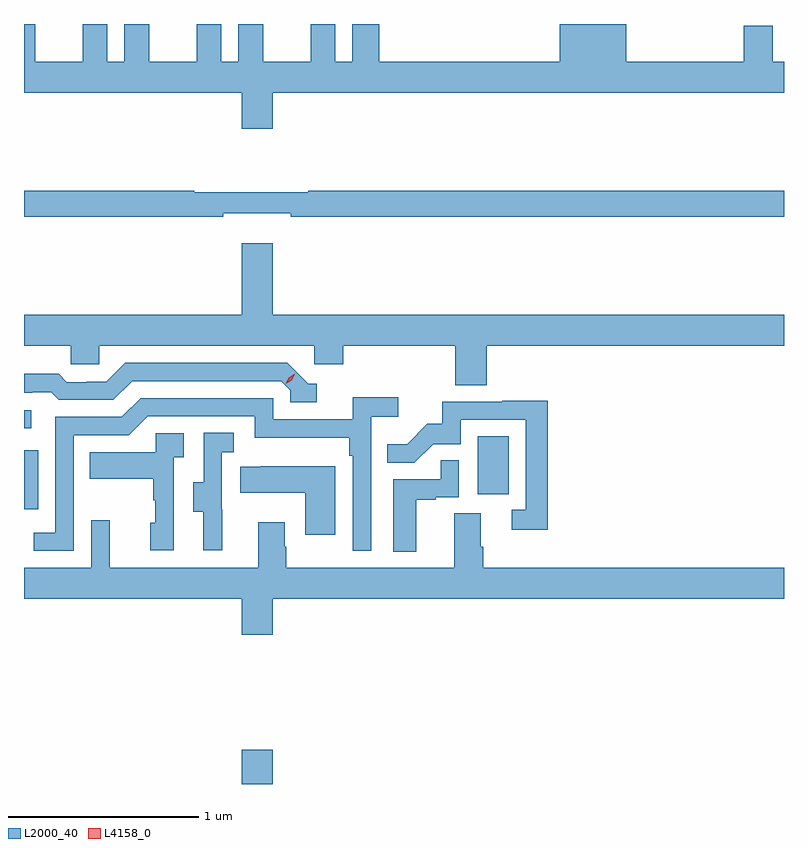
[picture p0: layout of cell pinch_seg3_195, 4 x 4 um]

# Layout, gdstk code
import gdstk
lib = gdstk.Library(unit=1e-6, precision=1e-09)
def R(c, l, rs):  # rectangles x0, y0, x1, y1
    for r in rs: c.add(gdstk.rectangle(r[:2], r[2:], *l))
def P(c, l, *ps):  # polygons
    for p in ps: c.add(gdstk.Polygon(p, *l))
L2000_40 = (2000, 40)
L4158_0 = (4158, 0)

pinch_seg3_195 = lib.new_cell('pinch_seg3_195')
R(pinch_seg3_195, L2000_40, [(956.216,741.234,956.38,741.415), (955.071,742.68,955.146,742.99), (957.458,742.758,957.622,743.065), (955.071,743.106,955.108,743.202)])
P(pinch_seg3_195, L2000_40, [(956.216,744.684),(956.38,744.684),(956.38,744.872),(959.071,744.872),(959.071,745.036),(959.011,745.036),(959.011,745.226),(958.859,745.226),(958.859,745.036),(958.24,745.036),(958.24,745.234),(957.89,745.234),(957.89,745.036),(956.942,745.036),(956.942,745.234),(956.798,745.234),(956.798,745.036),(956.71,745.036),(956.71,745.234),(956.579,745.234),(956.579,745.036),(956.329,745.036),(956.329,745.234),(956.198,745.234),(956.198,745.036),(956.11,745.036),(956.11,745.234),(955.979,745.234),(955.979,745.036),(955.729,745.036),(955.729,745.234),(955.598,745.234),(955.598,745.036),(955.51,745.036),(955.51,745.234),(955.379,745.234),(955.379,745.036),(955.129,745.036),(955.129,745.234),(955.071,745.234),(955.071,744.872),(956.216,744.872)],
  [(956.12,744.239),(956.476,744.239),(956.476,744.22),(959.071,744.22),(959.071,744.356),(956.567,744.356),(956.567,744.349),(955.967,744.349),(955.967,744.356),(955.071,744.356),(955.071,744.22),(956.12,744.22)],
  [(957.506,743.54),(959.071,743.54),(959.071,743.704),(956.38,743.704),(956.38,744.079),(956.216,744.079),(956.216,743.704),(955.071,743.704),(955.071,743.54),(955.317,743.54),(955.317,743.442),(955.467,743.442),(955.467,743.54),(956.598,743.54),(956.598,743.442),(956.75,743.442),(956.75,743.54),(957.341,743.54),(957.341,743.332),(957.506,743.332)],
  [(956.611,743.34),(956.568,743.34),(956.457,743.451),(955.604,743.451),(955.505,743.352),(955.398,743.352),(955.398,743.349),(955.295,743.349),(955.253,743.392),(955.071,743.392),(955.071,743.292),(955.115,743.292),(955.115,743.295),(955.214,743.295),(955.253,743.256),(955.542,743.256),(955.641,743.355),(956.424,743.355),(956.472,743.307),(956.472,743.244),(956.611,743.244)],
  [(955.332,743.07),(955.623,743.07),(955.722,743.169),(956.286,743.169),(956.286,743.057),(956.782,743.057),(956.782,742.961),(956.802,742.961),(956.802,742.461),(956.898,742.461),(956.898,743.168),(957.04,743.168),(957.04,743.27),(956.801,743.27),(956.801,743.154),(956.382,743.154),(956.382,743.265),(955.685,743.265),(955.586,743.166),(955.236,743.166),(955.236,742.557),(955.123,742.557),(955.123,742.461),(955.332,742.461)],
  [(957.827,743.252),(957.589,743.252),(957.589,743.247),(957.271,743.247),(957.271,743.13),(957.194,743.13),(957.087,743.023),(956.983,743.023),(956.983,742.924),(957.126,742.924),(957.224,743.022),(957.369,743.022),(957.369,743.151),(957.711,743.151),(957.711,742.677),(957.639,742.677),(957.639,742.572),(957.827,742.572)],
  [(956.114,742.677),(956.112,742.677),(956.112,742.981),(956.176,742.981),(956.176,743.084),(956.016,743.084),(956.016,742.821),(955.961,742.821),(955.961,742.666),(956.015,742.666),(956.015,742.464),(956.114,742.464)],
  [(955.86,742.955),(955.912,742.955),(955.912,743.079),(955.764,743.079),(955.764,742.981),(955.417,742.981),(955.417,742.841),(955.752,742.841),(955.752,742.727),(955.762,742.727),(955.762,742.608),(955.736,742.608),(955.736,742.464),(955.86,742.464)],
  [(957.136,742.731),(957.239,742.731),(957.239,742.743),(957.36,742.743),(957.36,742.937),(957.265,742.937),(957.265,742.839),(957.014,742.839),(957.014,742.457),(957.136,742.457)],
  [(956.71,742.906),(956.317,742.906),(956.317,742.903),(956.209,742.903),(956.209,742.766),(956.552,742.766),(956.552,742.545),(956.71,742.545)],
  [(956.38,742.208),(959.071,742.208),(959.071,742.372),(957.488,742.372),(957.488,742.484),(957.475,742.484),(957.475,742.658),(957.335,742.658),(957.335,742.372),(956.451,742.372),(956.451,742.484),(956.443,742.484),(956.443,742.612),(956.303,742.612),(956.303,742.372),(955.523,742.372),(955.523,742.621),(955.425,742.621),(955.425,742.372),(955.071,742.372),(955.071,742.208),(956.216,742.208),(956.216,742.02),(956.38,742.02)])
P(pinch_seg3_195, L4158_0, [(956.449,743.34),(956.449,743.34),(956.465,743.373),(956.495,743.393),(956.495,743.393),(956.495,743.392),(956.48,743.36),(956.449,743.34)])

lib.write_gds('pinch_seg3_195.gds')
